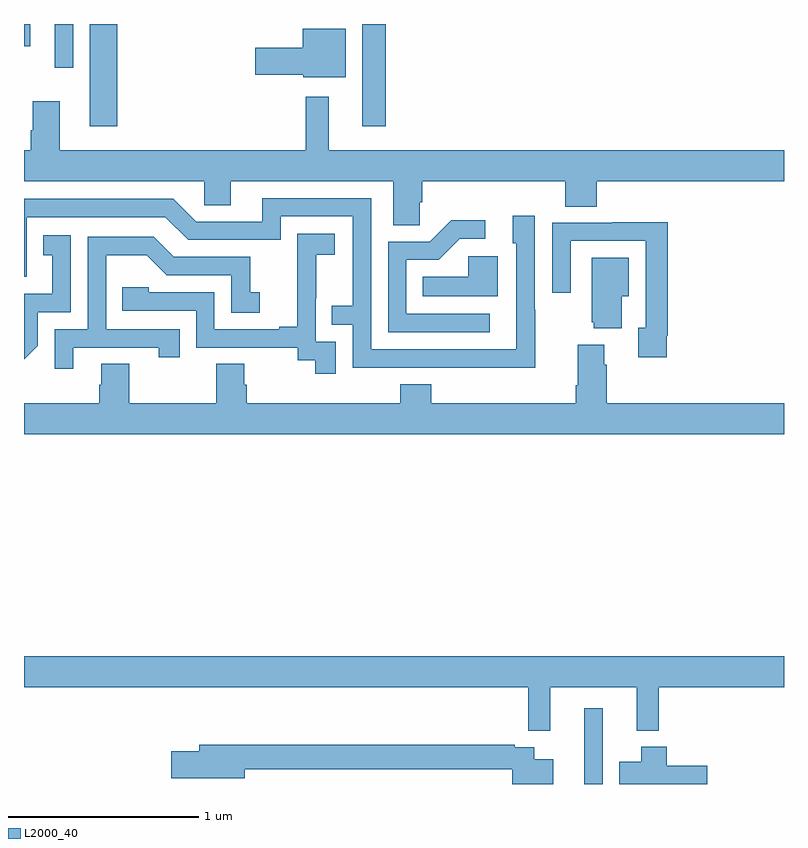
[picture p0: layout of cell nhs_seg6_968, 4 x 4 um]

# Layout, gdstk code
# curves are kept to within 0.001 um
import gdstk
lib = gdstk.Library(unit=1e-6, precision=1e-09)
def R(c, l, rs):  # rectangles x0, y0, x1, y1
    for r in rs: c.add(gdstk.rectangle(r[:2], r[2:], *l))
def P(c, l, *ps):  # polygons
    for p in ps: c.add(gdstk.Polygon(p, *l))
L2000_40 = (2000, 40)

nhs_seg6_968 = lib.new_cell('nhs_seg6_968')
R(nhs_seg6_968, L2000_40, [(173.948,941.5,174.045,941.899), (171.347,944.961,171.491,945.5), (172.781,944.961,172.903,945.5), (171.162,945.27,171.258,945.5), (171,945.383,171.034,945.5)])
P(nhs_seg6_968, L2000_40, [(172.693,945.475),(172.466,945.475),(172.466,945.374),(172.218,945.374),(172.218,945.232),(172.47,945.232),(172.47,945.221),(172.693,945.221)],
  [(173.082,944.563),(173.096,944.563),(173.096,944.672),(173.849,944.672),(173.849,944.539),(174.014,944.539),(174.014,944.672),(175,944.672),(175,944.836),(172.603,944.836),(172.603,945.118),(172.482,945.118),(172.482,944.836),(171.187,944.836),(171.187,945.094),(171.047,945.094),(171.047,944.942),(171.035,944.942),(171.035,944.836),(171,944.836),(171,944.672),(171.948,944.672),(171.948,944.545),(172.087,944.545),(172.087,944.672),(172.943,944.672),(172.943,944.44),(173.082,944.44)],
  [(173.691,943.997),(173.688,943.997),(173.688,944.491),(173.573,944.491),(173.573,944.346),(173.592,944.346),(173.591,943.788),(172.827,943.788),(172.827,944.583),(172.253,944.583),(172.253,944.46),(171.906,944.46),(171.786,944.58),(171,944.58),(171,944.169),(171.015,944.169),(171.015,944.484),(171.744,944.484),(171.864,944.364),(172.35,944.364),(172.35,944.487),(172.731,944.487),(172.731,944.018),(172.621,944.018),(172.621,943.917),(172.731,943.917),(172.731,943.692),(173.691,943.691)],
  [(173.452,943.974),(173.013,943.974),(173.013,944.259),(173.182,944.259),(173.293,944.37),(173.428,944.37),(173.428,944.468),(173.249,944.468),(173.136,944.355),(172.917,944.355),(172.917,943.878),(173.452,943.878)],
  [(174.382,943.858),(174.389,943.858),(174.389,944.456),(174.097,944.456),(174.097,944.454),(173.781,944.454),(173.781,944.085),(173.877,944.085),(173.877,944.358),(174.273,944.358),(174.273,943.902),(174.233,943.902),(174.233,943.746),(174.382,943.746)],
  [(172.641,943.827),(172.536,943.827),(172.536,944.057),(172.538,944.057),(172.538,944.285),(172.636,944.285),(172.636,944.395),(172.438,944.395),(172.438,944.189),(172.439,944.189),(172.439,943.906),(172.343,943.906),(172.343,943.893),(172.002,943.893),(172.002,944.088),(171.657,944.088),(171.657,944.115),(171.517,944.115),(171.517,943.992),(171.906,943.992),(171.906,943.797),(172.44,943.797),(172.44,943.729),(172.533,943.729),(172.533,943.659),(172.641,943.659)],
  [(171.072,943.806),(171.072,943.983),(171.246,943.983),(171.246,944.389),(171.1,944.389),(171.1,944.283),(171.149,944.283),(171.149,944.079),(171,944.079),(171,943.735)],
  [(171.259,943.797),(171.71,943.797),(171.71,943.746),(171.821,943.746),(171.821,943.893),(171.432,943.893),(171.432,944.282),(171.646,944.282),(171.75,944.178),(172.092,944.178),(172.092,943.98),(172.24,943.98),(172.24,944.089),(172.191,944.089),(172.191,944.274),(171.787,944.274),(171.682,944.379),(171.336,944.379),(171.336,943.893),(171.162,943.893),(171.162,943.686),(171.259,943.686)],
  [(173.494,944.278),(173.337,944.278),(173.337,944.17),(173.098,944.17),(173.098,944.066),(173.494,944.066)],
  [(174.145,944.066),(174.184,944.066),(174.184,944.269),(173.987,944.269),(173.987,943.929),(173.999,943.929),(173.999,943.898),(174.145,943.898)],
  [(175,943.504),(174.068,943.504),(174.068,943.706),(174.055,943.706),(174.055,943.813),(173.915,943.813),(173.915,943.6),(173.903,943.6),(173.903,943.504),(173.144,943.504),(173.144,943.603),(172.979,943.603),(172.979,943.504),(172.172,943.504),(172.172,943.602),(172.159,943.602),(172.159,943.712),(172.012,943.712),(172.012,943.504),(171.555,943.504),(171.555,943.712),(171.407,943.712),(171.407,943.602),(171.395,943.602),(171.395,943.504),(171,943.504),(171,943.34),(175,943.34)],
  [(171,942.008),(173.653,942.008),(173.653,941.779),(173.771,941.779),(173.771,942.008),(174.224,942.008),(174.224,941.78),(174.341,941.78),(174.341,942.008),(175,942.008),(175,942.172),(171,942.172)],
  [(173.785,941.629),(173.686,941.629),(173.686,941.694),(173.582,941.694),(173.582,941.707),(171.923,941.707),(171.923,941.673),(171.774,941.673),(171.774,941.531),(172.162,941.531),(172.162,941.578),(173.57,941.578),(173.57,941.5),(173.785,941.5)],
  [(174.595,941.595),(174.383,941.595),(174.383,941.695),(174.248,941.695),(174.248,941.617),(174.134,941.617),(174.134,941.5),(174.595,941.5)])

lib.write_gds('nhs_seg6_968.gds')
